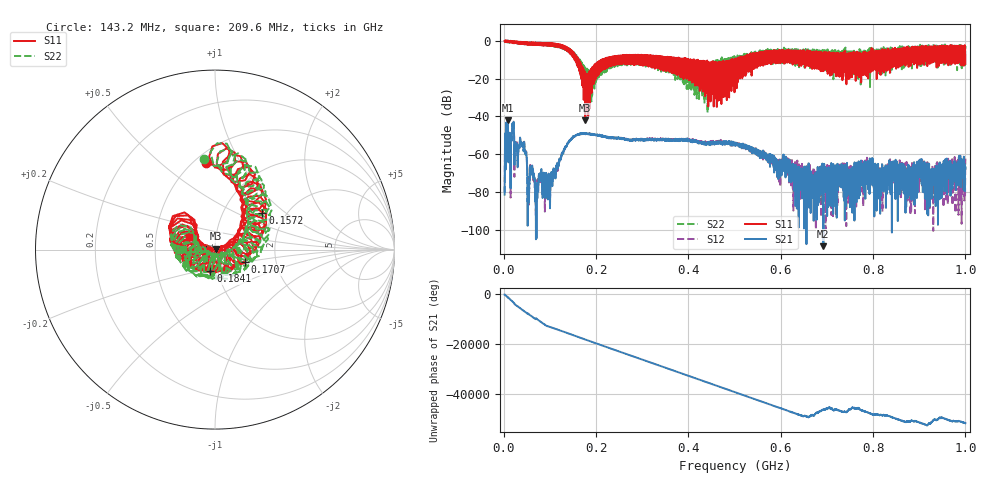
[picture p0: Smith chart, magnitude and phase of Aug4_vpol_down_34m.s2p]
!Keysight Technologies N9923A: A.12.45
!Date: Tuesday, 05 August 2025 20:58:38
!Timezone: (UTC+08:00) Kuala Lumpur, Singapore
!Model: N9923A
!Serial: MY61181427
!GPS Latitude:
!GPS Longitude:
!GPS TimeStamp: 0001-01-01 00:00:00Z
!GPS Seconds Since Last Read: 0
!CHECKSUM:1965261565
!Correction: S11(ON U)S21(ON U)S12(ON U)S22(ON U)
!S2P File: Measurements:S11,S21,S12,S22:
# Hz S DB R 50
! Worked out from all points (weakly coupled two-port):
!   4001 points, 2 MHz to 1 GHz, reference 50 ohm
!   highest |S21| = -42.09 dB at 8.736 MHz (marker M1); lowest = -108.5 dB at 692.4 MHz (marker M2)
!   lowest |S11| = -42.1 dB at 176.7 MHz (marker M3), VSWR 1.02, Z = 50.6 + j0.47 ohm
!   |S11| at or under -10 dB: 162.7 MHz to 212.3 MHz (49.63 MHz wide, 26.5 % of centre); 412.2 MHz to 420.4 MHz (8.208 MHz wide, 1.97 % of centre); 420.4 MHz to 494 MHz (73.54 MHz wide, 16.1 % of centre)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
!   |S22| runs from -38.1 to 0.1 dB; largest |S21 - S12| = 0.0011
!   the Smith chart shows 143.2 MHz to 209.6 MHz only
!   S11 on the Smith chart (normalised r, x): 143.2 MHz: 0.57, +0.72; 157.2 MHz: 1.53, +0.70; 170.7 MHz: 1.38, -0.20; 184.1 MHz: 0.92, -0.23; 209.6 MHz: 0.74, +0.10
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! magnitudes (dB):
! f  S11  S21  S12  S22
! 2 MHz  -0.1  -81.3  -80.3  -0.1
! 8.736 MHz  -0.3  -42.1  -42.3  -0.4
! 40.17 MHz  -0.7  -55.7  -55.6  -0.7
! 55.14 MHz  -1.1  -75.4  -77.6  -1.2
! 61.63 MHz  -1.5  -65.9  -66.1  -1.7
! 70.86 MHz  -1.5  -104.5  -82.0  -1.3
! 98.56 MHz  -2.0  -72.2  -71.4  -2.3
! 143.2 MHz  -6.2  -52.7  -52.8  -5.9
! 157.2 MHz  -9.6  -50.0  -49.8  -9.4
! 168.4 MHz  -20.1  -49.1  -48.8  -17.1
! 170.7 MHz  -15.0  -49.1  -49.1  -13.8
! 176.7 MHz  -42.1  -49.3  -49.2  -22.8
! 184.1 MHz  -18.1  -49.2  -49.1  -15.4
! 209.6 MHz  -15.9  -50.1  -50.0  -15.1
! 334.8 MHz  -8.2  -52.0  -52.4  -10.0
! 418.2 MHz  -19.1  -53.0  -53.1  -30.4
! 501 MHz  -9.9  -54.1  -54.4  -8.9
! 667.4 MHz  -6.2  -76.7  -71.5  -6.2
! 692.4 MHz  -6.3  -108.5  -71.5  -12.5
! 833.8 MHz  -5.9  -68.4  -70.0  -12.9
! 923.4 MHz  -3.6  -74.9  -76.3  -5.1
! 1 GHz  -12.2  -67.4  -62.3  -4.2
